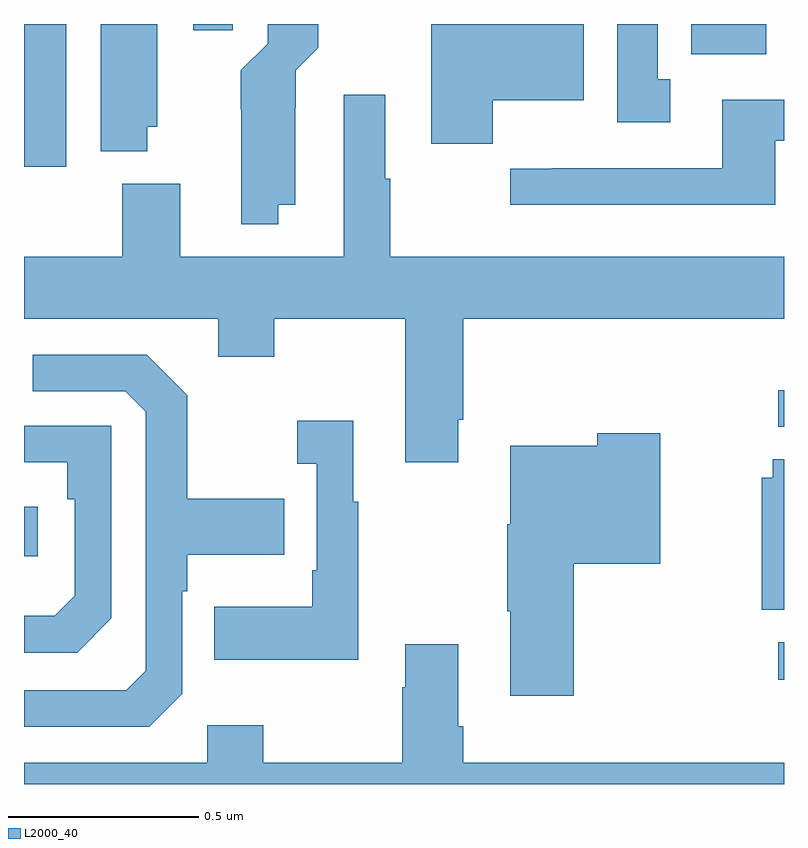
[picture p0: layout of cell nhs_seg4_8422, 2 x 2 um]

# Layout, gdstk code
import gdstk
lib = gdstk.Library(unit=1e-6, precision=1e-09)
def R(c, l, rs):  # rectangles x0, y0, x1, y1
    for r in rs: c.add(gdstk.rectangle(r[:2], r[2:], *l))
def P(c, l, *ps):  # polygons
    for p in ps: c.add(gdstk.Polygon(p, *l))
L2000_40 = (2000, 40)

nhs_seg4_8422 = lib.new_cell('nhs_seg4_8422')
R(nhs_seg4_8422, L2000_40, [(215.985,825.175,216,825.273), (214,825.5,214.036,825.63), (215.985,825.84,216,825.936), (214,826.524,214.111,826.9), (215.756,826.82,215.953,826.9), (214.445,826.884,214.549,826.9)])
P(nhs_seg4_8422, L2000_40, [(214.669,826.424),(214.714,826.424),(214.714,826.679),(214.715,826.679),(214.715,826.778),(214.774,826.837),(214.774,826.9),(214.641,826.9),(214.641,826.848),(214.571,826.778),(214.571,826.676),(214.572,826.676),(214.572,826.373),(214.669,826.373)],
  [(215.701,826.754),(215.668,826.754),(215.668,826.9),(215.561,826.9),(215.561,826.641),(215.701,826.641)],
  [(214.324,826.629),(214.351,826.629),(214.351,826.9),(214.202,826.9),(214.202,826.565),(214.324,826.565)],
  [(215.233,826.7),(215.473,826.7),(215.473,826.9),(215.072,826.9),(215.072,826.585),(215.233,826.585)],
  [(215.143,825.859),(215.156,825.859),(215.156,826.124),(216,826.124),(216,826.288),(214.964,826.288),(214.964,826.493),(214.951,826.493),(214.951,826.714),(214.841,826.714),(214.841,826.288),(214.411,826.288),(214.411,826.48),(214.259,826.48),(214.259,826.288),(214,826.288),(214,826.124),(214.511,826.124),(214.511,826.025),(214.659,826.025),(214.659,826.124),(215.003,826.124),(215.003,825.747),(215.143,825.747)],
  [(215.977,826.593),(216,826.593),(216,826.701),(215.837,826.701),(215.837,826.521),(215.389,826.521),(215.389,826.519),(215.28,826.519),(215.28,826.424),(215.977,826.424)],
  [(214.416,825.138),(214.416,825.407),(214.429,825.407),(214.429,825.503),(214.685,825.503),(214.685,825.651),(214.429,825.651),(214.429,825.923),(214.323,826.029),(214.023,826.029),(214.023,825.933),(214.266,825.933),(214.32,825.879),(214.32,825.198),(214.269,825.147),(214,825.147),(214,825.051),(214.329,825.051)],
  [(214.879,825.643),(214.867,825.643),(214.867,825.856),(214.719,825.856),(214.719,825.743),(214.77,825.743),(214.77,825.463),(214.758,825.463),(214.758,825.367),(214.501,825.367),(214.501,825.227),(214.879,825.227)],
  [(214.23,825.336),(214.23,825.843),(214,825.843),(214,825.747),(214.114,825.747),(214.114,825.65),(214.134,825.65),(214.134,825.396),(214.081,825.343),(214,825.343),(214,825.246),(214.14,825.246)],
  [(215.447,825.479),(215.674,825.479),(215.674,825.823),(215.509,825.823),(215.509,825.79),(215.279,825.79),(215.279,825.583),(215.272,825.583),(215.272,825.355),(215.279,825.355),(215.279,825.132),(215.447,825.132)],
  [(216,825.755),(215.971,825.755),(215.971,825.706),(215.942,825.706),(215.942,825.358),(216,825.358)],
  [(216,824.956),(215.156,824.956),(215.156,825.052),(215.143,825.052),(215.143,825.268),(215.003,825.268),(215.003,825.155),(214.996,825.155),(214.996,824.956),(214.629,824.956),(214.629,825.055),(214.482,825.055),(214.482,824.956),(214,824.956),(214,824.9),(216,824.9)])

lib.write_gds('nhs_seg4_8422.gds')
